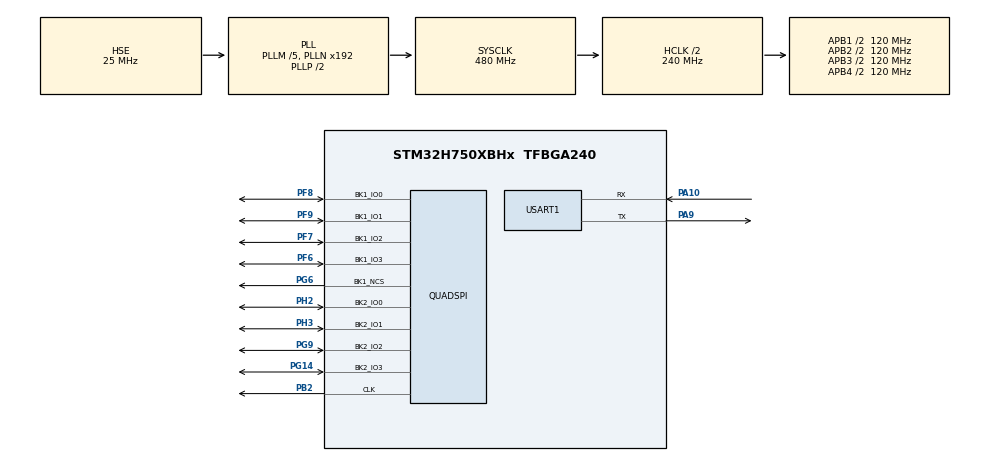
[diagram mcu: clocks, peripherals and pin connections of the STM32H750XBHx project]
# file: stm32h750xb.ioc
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CORTEX_M7.MPU_Control=__NULL
CORTEX_M7.default_mode_Activation=1
Mcu.Family=STM32H7
Mcu.Name=STM32H750XBHx
Mcu.Package=TFBGA240
NVIC.PriorityGroup=NVIC_PRIORITYGROUP_4
PA10.Mode=Asynchronous
PA10.Signal=USART1_RX
PA9.Mode=Asynchronous
PA9.Signal=USART1_TX
PB2.GPIO_Speed=GPIO_SPEED_FREQ_VERY_HIGH
PB2.Mode=Dual_Bank
PB2.Signal=QUADSPI_CLK
PC14-OSC32_IN\ (OSC32_IN).Mode=LSE-External-Oscillator
PC14-OSC32_IN\ (OSC32_IN).Signal=RCC_OSC32_IN
PC15-OSC32_OUT\ (OSC32_OUT).Mode=LSE-External-Oscillator
PC15-OSC32_OUT\ (OSC32_OUT).Signal=RCC_OSC32_OUT
PF6.GPIO_Speed=GPIO_SPEED_FREQ_VERY_HIGH
PF6.Mode=Dual_Bank
PF6.Signal=QUADSPI_BK1_IO3
PF7.GPIO_Speed=GPIO_SPEED_FREQ_VERY_HIGH
PF7.Mode=Dual_Bank
PF7.Signal=QUADSPI_BK1_IO2
PF8.GPIO_Speed=GPIO_SPEED_FREQ_VERY_HIGH
PF8.Mode=Dual_Bank
PF8.Signal=QUADSPI_BK1_IO0
PF9.GPIO_Speed=GPIO_SPEED_FREQ_VERY_HIGH
PF9.Mode=Dual_Bank
PF9.Signal=QUADSPI_BK1_IO1
PG14.GPIO_Speed=GPIO_SPEED_FREQ_VERY_HIGH
PG14.Mode=Dual_Bank
PG14.Signal=QUADSPI_BK2_IO3
PG6.GPIO_Speed=GPIO_SPEED_FREQ_VERY_HIGH
PG6.Mode=Enable Chip Select 1 for both banks
PG6.Signal=QUADSPI_BK1_NCS
PG9.GPIO_Speed=GPIO_SPEED_FREQ_VERY_HIGH
PG9.Mode=Dual_Bank
PG9.Signal=QUADSPI_BK2_IO2
PH0-OSC_IN\ (PH0).Mode=HSE-External-Oscillator
PH0-OSC_IN\ (PH0).Signal=RCC_OSC_IN
PH1-OSC_OUT\ (PH1).Mode=HSE-External-Oscillator
PH1-OSC_OUT\ (PH1).Signal=RCC_OSC_OUT
PH2.GPIO_Speed=GPIO_SPEED_FREQ_VERY_HIGH
PH2.Mode=Dual_Bank
PH2.Signal=QUADSPI_BK2_IO0
PH3.GPIO_Speed=GPIO_SPEED_FREQ_VERY_HIGH
PH3.Mode=Dual_Bank
PH3.Signal=QUADSPI_BK2_IO1
ProjectManager.HeapSize=0x200
ProjectManager.StackSize=0x400
ProjectManager.TargetToolchain=MDK-ARM V5.32
QUADSPI.ChipSelectHighTime=QSPI_CS_HIGH_TIME_8_CYCLE
QUADSPI.ClockPrescaler=3
QUADSPI.FifoThreshold=32
QUADSPI.FlashSize=27
QUADSPI.SampleShifting=QSPI_SAMPLE_SHIFTING_NONE
RCC.ADCFreq_Value=480000000
RCC.APB1Freq_Value=120000000
RCC.APB2Freq_Value=120000000
RCC.APB3Freq_Value=120000000
RCC.APB4Freq_Value=120000000
RCC.CortexFreq_Value=480000000
RCC.D1PPRE=RCC_APB3_DIV2
RCC.D2PPRE1=RCC_APB1_DIV2
RCC.D2PPRE2=RCC_APB2_DIV2
RCC.D3PPRE=RCC_APB4_DIV2
RCC.DIVM1=5
RCC.DIVM2=5
RCC.DIVN1=192
RCC.DIVN2=192
RCC.HCLKFreq_Value=240000000
RCC.HPRE=RCC_HCLK_DIV2
RCC.PLLSourceVirtual=RCC_PLLSOURCE_HSE
RCC.ProductRev=revV
RCC.SYSCLKFreq_VALUE=480000000
RCC.SYSCLKSource=RCC_SYSCLKSOURCE_PLLCLK
RCC.USBFreq_Value=480000000
USART1.VirtualMode-Asynchronous=VM_ASYNC
board=custom

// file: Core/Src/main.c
/* USER CODE BEGIN Header */
/**
  ******************************************************************************
  * @file           : main.c
  * @brief          : Main program body
  ******************************************************************************
  * @attention
  *
  * Copyright (c) 2024 STMicroelectronics.
  * All rights reserved.
  *
  * This software is licensed under terms that can be found in the LICENSE file
  * in the root directory of this software component.
  * If no LICENSE file comes with this software, it is provided AS-IS.
  *
  ******************************************************************************
  */
/* USER CODE END Header */
#include "main.h"
#include "quadspi.h"
#include "usart.h"
#include "gpio.h"

/* USER CODE BEGIN Includes */
#include <stdarg.h>
#include <stdio.h>
#include <dual_w25q256jv.h>
/* USER CODE END Includes */

void SystemClock_Config(void);

/* USER CODE BEGIN 0 */
HAL_StatusTypeDef HAL_InitTick(uint32_t TickPriority)
{
    return HAL_OK;
}

void HAL_Delay(uint32_t Delay)
{
    volatile int i=0;
    for (i=0; i<0x1000; i++);
}

uint32_t HAL_GetTick(void)
{
    volatile int i;
    for (i=0; i < 512; i++);
    uwTick++;
    return uwTick;
}
/* USER CODE END 0 */

int main(void)
{

    /* MCU Configuration--------------------------------------------------------*/

    /* Reset of all peripherals, Initializes the Flash interface and the Systick. */
    HAL_Init();

    /* Configure the system clock */
    SystemClock_Config();

    /* Initialize all configured peripherals */
    MX_GPIO_Init();
    MX_QUADSPI_Init();
    MX_USART1_UART_Init();
    /* USER CODE BEGIN 2 */
    uint16_t data = 0;

	w25qxx_init();

	w25qxx_read_status_reg(1, &data);
	printf("data: %04x\r\n", data);
	w25qxx_read_status_reg(2, &data);
	printf("data: %04x\r\n", data);
    w25qxx_read_status_reg(3, &data);
	printf("data: %04x\r\n", data);

//	w25qxx_8k_sector_erase(0x00);
//
//	uint8_t buf[1024] = {0x01, 0x02, 0x03, 0x04};
//	for(int i = 0; i < 1024; i++)	buf[i] = 1024 - i;
//
//	w25qxx_write(0, buf, 1024);

	w25qxx_memorymapped();
    /* USER CODE END 2 */

    /* Infinite loop */
    /* USER CODE BEGIN WHILE */
    while (1)
    {
        HAL_Delay(1000);
        /* USER CODE END WHILE */

    }
}

void SystemClock_Config(void)
{
    RCC_OscInitTypeDef RCC_OscInitStruct = {0};
    RCC_ClkInitTypeDef RCC_ClkInitStruct = {0};

    /** Supply configuration update enable
    */
    HAL_PWREx_ConfigSupply(PWR_LDO_SUPPLY);

    /** Configure the main internal regulator output voltage
    */
    __HAL_PWR_VOLTAGESCALING_CONFIG(PWR_REGULATOR_VOLTAGE_SCALE1);

    while (!__HAL_PWR_GET_FLAG(PWR_FLAG_VOSRDY)) {}

    __HAL_RCC_SYSCFG_CLK_ENABLE();
    __HAL_PWR_VOLTAGESCALING_CONFIG(PWR_REGULATOR_VOLTAGE_SCALE0);

    while (!__HAL_PWR_GET_FLAG(PWR_FLAG_VOSRDY)) {}

    /** Initializes the RCC Oscillators according to the specified parameters
    * in the RCC_OscInitTypeDef structure.
    */
    RCC_OscInitStruct.OscillatorType = RCC_OSCILLATORTYPE_HSE;
    RCC_OscInitStruct.HSEState = RCC_HSE_ON;
    RCC_OscInitStruct.PLL.PLLState = RCC_PLL_ON;
    RCC_OscInitStruct.PLL.PLLSource = RCC_PLLSOURCE_HSE;
    RCC_OscInitStruct.PLL.PLLM = 5;
    RCC_OscInitStruct.PLL.PLLN = 192;
    RCC_OscInitStruct.PLL.PLLP = 2;
    RCC_OscInitStruct.PLL.PLLQ = 2;
    RCC_OscInitStruct.PLL.PLLR = 2;
    RCC_OscInitStruct.PLL.PLLRGE = RCC_PLL1VCIRANGE_2;
    RCC_OscInitStruct.PLL.PLLVCOSEL = RCC_PLL1VCOWIDE;
    RCC_OscInitStruct.PLL.PLLFRACN = 0;
    if (HAL_RCC_OscConfig(&RCC_OscInitStruct) != HAL_OK)
    {
        Error_Handler();
    }

    /** Initializes the CPU, AHB and APB buses clocks
    */
    RCC_ClkInitStruct.ClockType = RCC_CLOCKTYPE_HCLK | RCC_CLOCKTYPE_SYSCLK
                                  | RCC_CLOCKTYPE_PCLK1 | RCC_CLOCKTYPE_PCLK2
                                  | RCC_CLOCKTYPE_D3PCLK1 | RCC_CLOCKTYPE_D1PCLK1;
    RCC_ClkInitStruct.SYSCLKSource = RCC_SYSCLKSOURCE_PLLCLK;
    RCC_ClkInitStruct.SYSCLKDivider = RCC_SYSCLK_DIV1;
    RCC_ClkInitStruct.AHBCLKDivider = RCC_HCLK_DIV2;
    RCC_ClkInitStruct.APB3CLKDivider = RCC_APB3_DIV2;
    RCC_ClkInitStruct.APB1CLKDivider = RCC_APB1_DIV2;
    RCC_ClkInitStruct.APB2CLKDivider = RCC_APB2_DIV2;
    RCC_ClkInitStruct.APB4CLKDivider = RCC_APB4_DIV2;

    if (HAL_RCC_ClockConfig(&RCC_ClkInitStruct, FLASH_LATENCY_4) != HAL_OK)
    {
        Error_Handler();
    }
}

/* USER CODE BEGIN 4 */
/* ------------------redirect printf to uart-------------------*/
#if !defined(__MICROLIB)
#if defined(__GNUC__) || defined(__clang__)
    __asm(".global __use_no_semihosting\n\t");
#elif defined(__CC_ARM)
    #pragma import(__use_no_semihosting)
#endif

void _sys_exit(int x)
{
    x = x;
}

void _ttywrch(int ch) //__use_no_semihosting was requested, _ttywrch was
{
    ch = ch;
}

struct __FILE
{
    int handle;
};  // add this code in GNU environment
FILE __stdout;
#endif

#if defined(__GNUC__) && !defined(__clang__)
    #define PUTCHAR_PROTOTYPE int __io_putchar(int ch)
#else
    #define PUTCHAR_PROTOTYPE int fputc(int ch, FILE *f)
#endif
PUTCHAR_PROTOTYPE
{
    HAL_UART_Transmit(&huart1, (uint8_t *)&ch, 1, 1000);
    return ch;
}
/* USER CODE END 4 */

void Error_Handler(void)
{
    __disable_irq();
    while (1)
    {
    }
}
